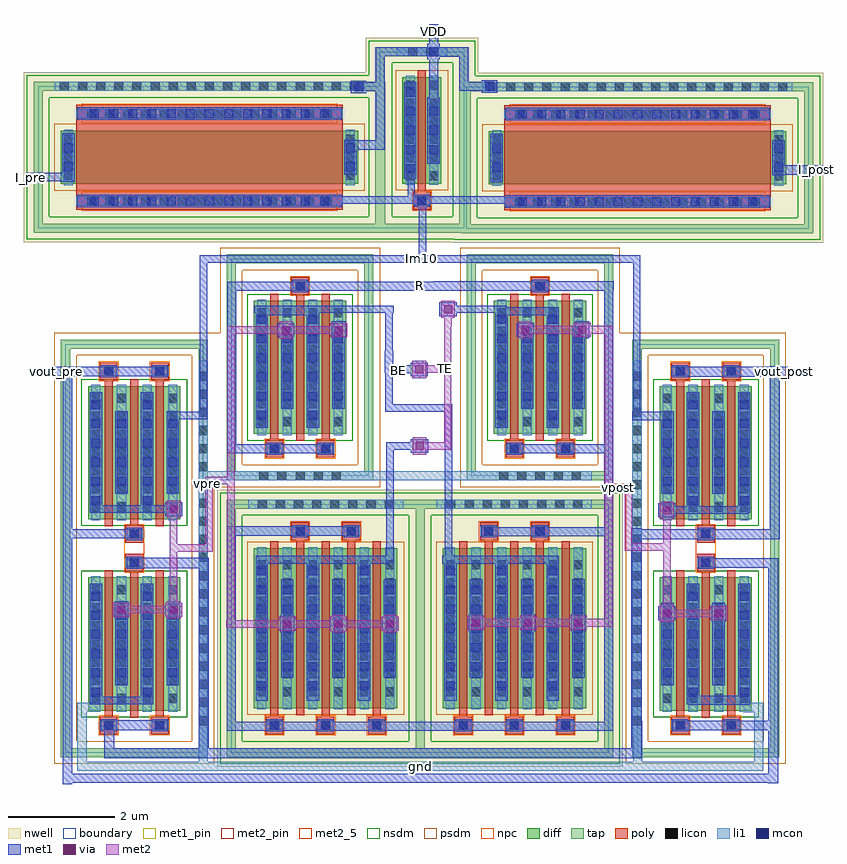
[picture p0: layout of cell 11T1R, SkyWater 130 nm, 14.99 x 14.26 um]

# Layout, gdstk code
from math import pi, radians
import gdstk
lib = gdstk.Library(unit=1e-6, precision=1e-09)
def R(c, l, rs):  # rectangles x0, y0, x1, y1
    for r in rs: c.add(gdstk.rectangle(r[:2], r[2:], *l))
def A(c, l, x, y, w, h, nx, ny, dx, dy):  # array of equal rectangles
    R(c, l, [(x+i*dx, y+j*dy, x+i*dx+w, y+j*dy+h) for i in range(nx) for j in range(ny)])
nwell = (64, 20)
diff = (65, 20)
tap = (65, 44)
poly = (66, 20)
licon = (66, 44)
li1 = (67, 20)
mcon = (67, 44)
met1_pin = (68, 16)
met1 = (68, 20)
via = (68, 44)
met2_5 = (69, 5)
met2_pin = (69, 16)
met2 = (69, 20)
nsdm = (93, 44)
psdm = (94, 20)
npc = (95, 20)
boundary = (235, 4)

sky130_fd_pr__pfet_01v8_ = lib.new_cell('sky130_fd_pr__pfet_01v8_86T979')
R(sky130_fd_pr__pfet_01v8_, nwell, [(-1.055,-1.92,1.055,1.92)])
R(sky130_fd_pr__pfet_01v8_, diff, [(-0.365,-0.82,0.365,1.18)])
R(sky130_fd_pr__pfet_01v8_, tap, [(-0.875,-1.74,0.875,-1.57), (-0.875,-1.57,-0.705,1.57), (0.705,-1.57,0.875,1.57), (-0.875,1.57,0.875,1.74)])
R(sky130_fd_pr__pfet_01v8_, poly, [(-0.165,-1.305,0.165,-0.975), (-0.075,-0.975,0.075,1.31)])
A(sky130_fd_pr__pfet_01v8_, licon, -0.305, -0.755, 0.17, 0.17, 1, 6, 0, 0.34)
A(sky130_fd_pr__pfet_01v8_, licon, 0.135, -0.755, 0.17, 0.17, 1, 6, 0, 0.34)
R(sky130_fd_pr__pfet_01v8_, licon, [(-0.085,-1.225,0.085,-1.055), (-0.255,1.57,-0.085,1.74), (0.085,1.57,0.255,1.74)])
R(sky130_fd_pr__pfet_01v8_, li1, [(-0.165,-1.225,0.165,-1.055), (-0.305,-0.84,-0.135,1.2), (0.135,-0.84,0.305,1.2), (-0.475,1.57,0.475,1.74)])
A(sky130_fd_pr__pfet_01v8_, mcon, -0.305, -0.625, 0.17, 0.17, 1, 5, 0, 0.36)
A(sky130_fd_pr__pfet_01v8_, mcon, 0.135, -0.265, 0.17, 0.17, 1, 3, 0, 0.36)
R(sky130_fd_pr__pfet_01v8_, mcon, [(-0.085,-1.225,0.085,-1.055)])
R(sky130_fd_pr__pfet_01v8_, met1, [(-0.145,-1.255,0.145,-1.025), (-0.335,-0.725,-0.105,1.085), (0.105,-0.445,0.335,0.805)])
R(sky130_fd_pr__pfet_01v8_, nsdm, [(-1,-1.865,1,-1.445), (-1,-1.445,-0.58,1.445), (0.58,-1.445,1,1.445), (-1,1.445,1,1.865)])
R(sky130_fd_pr__pfet_01v8_, psdm, [(-0.49,-0.945,0.49,1.305)])
R(sky130_fd_pr__pfet_01v8_, npc, [(-0.185,-1.325,0.185,-0.955)])
R(sky130_fd_pr__pfet_01v8_, boundary, [(-0.79,-1.655,0.79,1.655)])

rram2_0 = lib.new_cell('rram2_0')
R(rram2_0, met1_pin, [(-0.16,-0.13,0.16,0.13)])
R(rram2_0, met1, [(-0.16,-0.13,0.16,0.13)])
R(rram2_0, via, [(-0.075,-0.075,0.075,0.075)])
R(rram2_0, met2_pin, [(-0.13,-0.16,0.13,0.16)])
R(rram2_0, met2, [(-0.13,-0.16,0.13,0.16)])
rram2_0.add(gdstk.Label('TE', (0,0), layer=69, texttype=5))
rram2_0.add(gdstk.Label('BE', (0,0), layer=68, texttype=5))

sky130_fd_pr__nfet_01v8_ = lib.new_cell('sky130_fd_pr__nfet_01v8_AKC4V5')
R(sky130_fd_pr__nfet_01v8_, diff, [(-0.865,-3.045,0.865,-0.545), (-0.865,0.545,0.865,3.045)])
R(sky130_fd_pr__nfet_01v8_, tap, [(-1.375,-3.915,1.375,-3.745), (-1.375,-3.745,-1.205,3.745), (1.205,-3.745,1.375,3.745), (-1.375,3.745,1.375,3.915)])
R(sky130_fd_pr__nfet_01v8_, poly, [(-0.645,-3.485,-0.315,-3.155), (0.315,-3.485,0.645,-3.155), (-0.075,-3.175,0.075,-0.435), (-0.555,-3.155,-0.405,-0.415), (0.405,-3.155,0.555,-0.415), (-0.165,-0.435,0.165,-0.105), (-0.165,0.105,0.165,0.435), (-0.555,0.415,-0.405,3.155), (0.405,0.415,0.555,3.155), (-0.075,0.435,0.075,3.175), (-0.645,3.155,-0.315,3.485), (0.315,3.155,0.645,3.485)])
A(sky130_fd_pr__nfet_01v8_, licon, 1.205, -3.315, 0.17, 0.17, 1, 20, 0, 0.34)
A(sky130_fd_pr__nfet_01v8_, licon, -0.805, -2.9, 0.17, 0.17, 4, 7, 0.48, 0.34)
A(sky130_fd_pr__nfet_01v8_, licon, -0.805, 0.69, 0.17, 0.17, 4, 7, 0.48, 0.34)
R(sky130_fd_pr__nfet_01v8_, licon, [(-0.565,-3.405,-0.395,-3.235), (0.395,-3.405,0.565,-3.235), (-0.085,-0.355,0.085,-0.185), (-0.085,0.185,0.085,0.355), (-0.565,3.235,-0.395,3.405), (0.395,3.235,0.565,3.405)])
A(sky130_fd_pr__nfet_01v8_, li1, -0.805, -3.065, 0.17, 2.54, 4, 2, 0.48, 3.59)
R(sky130_fd_pr__nfet_01v8_, li1, [(1.205,-3.515,1.375,3.515), (-0.645,-3.405,-0.315,-3.235), (0.315,-3.405,0.645,-3.235), (-0.165,-0.355,0.165,-0.185), (-0.165,0.185,0.165,0.355), (-0.645,3.235,-0.315,3.405), (0.315,3.235,0.645,3.405)])
A(sky130_fd_pr__nfet_01v8_, mcon, -0.805, -2.42, 0.17, 0.17, 4, 4, 0.48, 0.36)
A(sky130_fd_pr__nfet_01v8_, mcon, -0.805, 1.17, 0.17, 0.17, 4, 4, 0.48, 0.36)
R(sky130_fd_pr__nfet_01v8_, mcon, [(-0.565,-3.405,-0.395,-3.235), (0.395,-3.405,0.565,-3.235), (-0.805,-2.78,-0.635,-2.61), (0.155,-2.78,0.325,-2.61), (-0.805,-0.98,-0.635,-0.81), (0.155,-0.98,0.325,-0.81), (-0.085,-0.355,0.085,-0.185), (-0.085,0.185,0.085,0.355), (-0.805,0.81,-0.635,0.98), (0.155,0.81,0.325,0.98), (-0.805,2.61,-0.635,2.78), (0.155,2.61,0.325,2.78), (-0.565,3.235,-0.395,3.405), (0.395,3.235,0.565,3.405)])
R(sky130_fd_pr__nfet_01v8_, met1, [(-0.625,-3.435,-0.335,-3.205), (0.335,-3.435,0.625,-3.205), (-0.835,-2.925,-0.605,-0.665), (0.125,-2.925,0.355,-0.665), (-0.355,-2.57,-0.125,-1.02), (0.605,-2.57,0.835,-1.02), (-0.145,-0.385,0.145,-0.155), (-0.145,0.155,0.145,0.385), (-0.835,0.665,-0.605,2.925), (0.125,0.665,0.355,2.925), (-0.355,1.02,-0.125,2.57), (0.605,1.02,0.835,2.57), (-0.625,3.205,-0.335,3.435), (0.335,3.205,0.625,3.435)])
R(sky130_fd_pr__nfet_01v8_, nsdm, [(-0.99,-3.17,0.99,-0.42), (-0.99,0.42,0.99,3.17)])
R(sky130_fd_pr__nfet_01v8_, psdm, [(-1.5,-4.04,1.5,-3.62), (-1.5,-3.62,-1.08,3.62), (1.08,-3.62,1.5,3.62), (-1.5,3.62,1.5,4.04)])
R(sky130_fd_pr__nfet_01v8_, npc, [(-0.665,-3.505,-0.295,-3.135), (0.295,-3.505,0.665,-3.135), (-0.185,-0.455,0.185,0.455), (-0.665,3.135,-0.295,3.505), (0.295,3.135,0.665,3.505)])
R(sky130_fd_pr__nfet_01v8_, boundary, [(-1.29,-3.83,1.29,3.83)])

c_sky130_fd_pr__nfet_01v8_ = lib.new_cell('sky130_fd_pr__nfet_01v8_JZLRWN')
R(c_sky130_fd_pr__nfet_01v8_, diff, [(-0.865,-1.25,0.865,1.25)])
R(c_sky130_fd_pr__nfet_01v8_, tap, [(-1.375,-2.12,1.375,-1.95), (-1.375,-1.95,-1.205,1.95), (1.205,-1.95,1.375,1.95), (-1.375,1.95,1.375,2.12)])
R(c_sky130_fd_pr__nfet_01v8_, poly, [(-0.645,-1.69,-0.315,-1.36), (0.315,-1.69,0.645,-1.36), (-0.075,-1.38,0.075,1.36), (-0.555,-1.36,-0.405,1.38), (0.405,-1.36,0.555,1.38), (-0.165,1.36,0.165,1.69)])
A(c_sky130_fd_pr__nfet_01v8_, licon, -0.765, -2.12, 0.17, 0.17, 5, 1, 0.34, 0)
A(c_sky130_fd_pr__nfet_01v8_, licon, -0.805, -1.105, 0.17, 0.17, 4, 7, 0.48, 0.34)
R(c_sky130_fd_pr__nfet_01v8_, licon, [(-0.565,-1.61,-0.395,-1.44), (0.395,-1.61,0.565,-1.44), (-0.085,1.44,0.085,1.61)])
A(c_sky130_fd_pr__nfet_01v8_, li1, -0.805, -1.27, 0.17, 2.54, 4, 1, 0.48, 0)
R(c_sky130_fd_pr__nfet_01v8_, li1, [(-0.975,-2.12,0.975,-1.95), (-0.645,-1.61,-0.315,-1.44), (0.315,-1.61,0.645,-1.44), (-0.165,1.44,0.165,1.61)])
A(c_sky130_fd_pr__nfet_01v8_, mcon, -0.805, -0.625, 0.17, 0.17, 4, 4, 0.48, 0.36)
R(c_sky130_fd_pr__nfet_01v8_, mcon, [(-0.565,-1.61,-0.395,-1.44), (0.395,-1.61,0.565,-1.44), (-0.805,-0.985,-0.635,-0.815), (0.155,-0.985,0.325,-0.815), (-0.805,0.815,-0.635,0.985), (0.155,0.815,0.325,0.985), (-0.085,1.44,0.085,1.61)])
R(c_sky130_fd_pr__nfet_01v8_, met1, [(-0.625,-1.64,-0.335,-1.41), (0.335,-1.64,0.625,-1.41), (-0.835,-1.13,-0.605,1.13), (0.125,-1.13,0.355,1.13), (-0.355,-0.775,-0.125,0.775), (0.605,-0.775,0.835,0.775), (-0.145,1.41,0.145,1.64)])
R(c_sky130_fd_pr__nfet_01v8_, nsdm, [(-0.99,-1.375,0.99,1.375)])
R(c_sky130_fd_pr__nfet_01v8_, psdm, [(-1.5,-2.245,1.5,-1.825), (-1.5,-1.825,-1.08,1.825), (1.08,-1.825,1.5,1.825), (-1.5,1.825,1.5,2.245)])
R(c_sky130_fd_pr__nfet_01v8_, npc, [(-0.665,-1.71,-0.295,-1.34), (0.295,-1.71,0.665,-1.34), (-0.185,1.34,0.185,1.71)])
R(c_sky130_fd_pr__nfet_01v8_, boundary, [(-1.29,-2.035,1.29,2.035)])

c_sky130_fd_pr__pfet_01v8_ = lib.new_cell('sky130_fd_pr__pfet_01v8_R4E532')
R(c_sky130_fd_pr__pfet_01v8_, nwell, [(-2.035,-2.595,2.035,2.595)])
R(c_sky130_fd_pr__pfet_01v8_, diff, [(-1.345,-1.5,1.345,1.5)])
R(c_sky130_fd_pr__pfet_01v8_, tap, [(-1.855,-2.415,1.855,-2.245), (-1.855,-2.245,-1.685,2.245), (1.685,-2.245,1.855,2.245), (-1.855,2.245,1.855,2.415)])
A(c_sky130_fd_pr__pfet_01v8_, poly, -1.125, -1.985, 0.33, 0.33, 3, 1, 0.96, 0)
A(c_sky130_fd_pr__pfet_01v8_, poly, -1.035, -1.655, 0.15, 3.285, 3, 1, 0.96, 0)
R(c_sky130_fd_pr__pfet_01v8_, poly, [(-0.555,-1.63,-0.405,1.655), (0.405,-1.63,0.555,1.655), (-0.645,1.655,-0.315,1.985), (0.315,1.655,0.645,1.985)])
A(c_sky130_fd_pr__pfet_01v8_, licon, -1.045, -1.905, 0.17, 0.17, 3, 1, 0.96, 0)
A(c_sky130_fd_pr__pfet_01v8_, licon, -1.285, -1.275, 0.17, 0.17, 6, 8, 0.48, 0.34)
A(c_sky130_fd_pr__pfet_01v8_, licon, -1.275, 2.245, 0.17, 0.17, 8, 1, 0.34, 0)
R(c_sky130_fd_pr__pfet_01v8_, licon, [(-0.565,1.735,-0.395,1.905), (0.395,1.735,0.565,1.905)])
A(c_sky130_fd_pr__pfet_01v8_, li1, -1.125, -1.905, 0.33, 0.17, 3, 1, 0.96, 0)
A(c_sky130_fd_pr__pfet_01v8_, li1, -1.285, -1.52, 0.17, 3.04, 6, 1, 0.48, 0)
R(c_sky130_fd_pr__pfet_01v8_, li1, [(-0.645,1.735,-0.315,1.905), (0.315,1.735,0.645,1.905), (-1.455,2.245,1.455,2.415)])
A(c_sky130_fd_pr__pfet_01v8_, mcon, -1.045, -1.905, 0.17, 0.17, 3, 1, 0.96, 0)
A(c_sky130_fd_pr__pfet_01v8_, mcon, -1.285, -1.165, 0.17, 0.17, 3, 2, 0.96, 2.16)
A(c_sky130_fd_pr__pfet_01v8_, mcon, -1.285, -0.805, 0.17, 0.17, 6, 5, 0.48, 0.36)
R(c_sky130_fd_pr__pfet_01v8_, mcon, [(-0.565,1.735,-0.395,1.905), (0.395,1.735,0.565,1.905)])
A(c_sky130_fd_pr__pfet_01v8_, met1, -1.105, -1.935, 0.29, 0.23, 3, 1, 0.96, 0)
A(c_sky130_fd_pr__pfet_01v8_, met1, -1.315, -1.355, 0.23, 2.71, 3, 1, 0.96, 0)
A(c_sky130_fd_pr__pfet_01v8_, met1, -0.835, -0.925, 0.23, 1.85, 3, 1, 0.96, 0)
R(c_sky130_fd_pr__pfet_01v8_, met1, [(-0.625,1.705,-0.335,1.935), (0.335,1.705,0.625,1.935)])
R(c_sky130_fd_pr__pfet_01v8_, nsdm, [(-1.98,-2.54,1.98,-2.12), (-1.98,-2.12,-1.56,2.12), (1.56,-2.12,1.98,2.12), (-1.98,2.12,1.98,2.54)])
R(c_sky130_fd_pr__pfet_01v8_, psdm, [(-1.47,-1.625,1.47,1.625)])
A(c_sky130_fd_pr__pfet_01v8_, npc, -1.145, -2.005, 0.37, 0.37, 3, 1, 0.96, 0)
R(c_sky130_fd_pr__pfet_01v8_, npc, [(-0.665,1.635,-0.295,2.005), (0.295,1.635,0.665,2.005)])
R(c_sky130_fd_pr__pfet_01v8_, boundary, [(-1.77,-2.33,1.77,2.33)])

c_sky130_fd_pr__pfet_01v8__ = lib.new_cell('sky130_fd_pr__pfet_01v8_RWS95J')
R(c_sky130_fd_pr__pfet_01v8__, nwell, [(-3.48,-1.595,3.48,1.595)])
R(c_sky130_fd_pr__pfet_01v8__, diff, [(-2.79,-0.5,2.79,0.5)])
R(c_sky130_fd_pr__pfet_01v8__, tap, [(-3.3,-1.415,3.3,-1.245), (-3.3,-1.245,-3.13,1.245), (3.13,-1.245,3.3,1.245), (-3.3,1.245,3.3,1.415)])
R(c_sky130_fd_pr__pfet_01v8__, poly, [(-2.5,-0.985,2.5,0.985)])
A(c_sky130_fd_pr__pfet_01v8__, licon, -2.295, -0.905, 0.17, 0.17, 14, 2, 0.34, 1.64)
A(c_sky130_fd_pr__pfet_01v8__, licon, -2.73, -0.425, 0.17, 0.17, 1, 3, 0, 0.34)
A(c_sky130_fd_pr__pfet_01v8__, licon, 2.56, -0.425, 0.17, 0.17, 1, 3, 0, 0.34)
A(c_sky130_fd_pr__pfet_01v8__, licon, -2.805, 1.245, 0.17, 0.17, 17, 1, 0.34, 0)
R(c_sky130_fd_pr__pfet_01v8__, li1, [(-2.5,-0.905,2.5,-0.735), (-2.73,-0.52,-2.56,0.52), (2.56,-0.52,2.73,0.52), (-2.5,0.735,2.5,0.905), (-2.9,1.245,2.9,1.415)])
A(c_sky130_fd_pr__pfet_01v8__, mcon, -2.245, -0.905, 0.17, 0.17, 13, 2, 0.36, 1.64)
R(c_sky130_fd_pr__pfet_01v8__, mcon, [(-2.73,-0.265,-2.56,-0.095), (2.56,-0.265,2.73,-0.095), (-2.73,0.095,-2.56,0.265), (2.56,0.095,2.73,0.265)])
R(c_sky130_fd_pr__pfet_01v8__, met1, [(-2.48,-0.935,2.48,-0.705), (-2.76,-0.455,-2.53,0.455), (2.53,-0.325,2.76,0.325), (-2.48,0.705,2.48,0.935)])
R(c_sky130_fd_pr__pfet_01v8__, nsdm, [(-3.425,-1.54,3.425,-1.12), (-3.425,-1.12,-3.005,1.12), (3.005,-1.12,3.425,1.12), (-3.425,1.12,3.425,1.54)])
R(c_sky130_fd_pr__pfet_01v8__, psdm, [(-2.915,-0.625,2.915,0.625)])
R(c_sky130_fd_pr__pfet_01v8__, npc, [(-2.395,-1.005,2.395,-0.635), (-2.395,0.635,2.395,1.005)])
R(c_sky130_fd_pr__pfet_01v8__, boundary, [(-3.215,-1.33,3.215,1.33)])

c_11t1r = lib.new_cell('11T1R')
R(c_11t1r, li1, [(-6.7,-7.365,6.16,-7.195), (-6.7,-7.195,-6.53,-6.26), (-4.43,-7.195,-4.26,-1.92), (3.72,-7.195,3.89,-6.425), (5.99,-7.195,6.16,-6.265), (5.79,-6.265,6.16,-6.095), (-6.7,-6.26,-6.275,-6.125), (-6.7,-6.125,-6.27,-6.09), (-6.44,-6.09,-6.27,-5.955), (-4.43,-1.92,1.355,-1.75), (-1.51,5.375,-1.34,5.545), (0.945,5.385,1.115,5.555), (-0.105,6.035,0.065,6.205)])
R(c_11t1r, mcon, [(-1.51,5.375,-1.34,5.545), (0.945,5.385,1.115,5.555), (-0.105,6.035,0.065,6.205)])
R(c_11t1r, met1_pin, [(-7.19,0.035,-7.015,0.21)])
R(c_11t1r, met1, [(-6.975,-7.615,-6.8,-7.595), (6.255,-7.6,6.44,-7.595), (-6.975,-7.595,6.445,-7.42), (-6.975,-7.42,-6.8,-3.01), (6.255,-7.42,6.44,-6.61), (-6.2,-7.135,3.88,-6.945), (-6.2,-6.945,-6.01,-6.61), (-4.425,-6.945,-4.235,-3.565), (3.69,-6.945,3.88,-3.025), (-3.905,-6.615,3.35,-6.445), (-6.2,-6.61,-5.04,-6.42), (4.515,-6.61,6.44,-6.425), (-3.905,-6.445,-3.735,-2.955), (3.18,-6.445,3.35,-2.965), (6.255,-6.425,6.44,-3.56), (4.765,-6.125,5.905,-5.96), (-6.455,-6.12,-5.305,-5.98), (-2.895,-4.77,-2.635,-4.45), (-1.935,-4.77,-1.675,-4.74), (-0.96,-4.77,-0.7,-4.74), (0.64,-4.75,0.9,-4.43), (1.625,-4.75,1.885,-4.43), (2.565,-4.75,2.825,-4.43), (-1.965,-4.74,-1.645,-4.48), (-0.99,-4.74,-0.67,-4.48), (5.2,-4.575,5.46,-4.255), (4.195,-4.545,4.515,-4.285), (-6.005,-4.505,-5.745,-4.185), (-5.025,-4.505,-4.765,-4.475), (-1.935,-4.48,-1.675,-4.45), (-0.96,-4.48,-0.7,-4.45), (-5.055,-4.475,-4.735,-4.215), (-5.025,-4.215,-4.765,-4.185), (-5.735,-3.565,-4.235,-3.375), (4.975,-3.56,6.44,-3.38), (-3.355,-3.48,-0.85,-3.46), (0.14,-3.48,2.33,-3.33), (-3.355,-3.46,-0.77,-3.33), (-0.91,-3.33,-0.77,-1.345), (0.19,-3.33,0.33,-0.63), (3.69,-3.025,6.475,-2.835), (-6.975,-3.01,-5.53,-2.835), (0.925,-2.965,3.35,-2.795), (-3.905,-2.955,-1.475,-2.785), (-6.975,-2.835,-6.8,0.035), (3.69,-2.835,3.88,-2.815), (6.285,-2.835,6.475,0.025), (3.18,-2.795,3.35,-1.41), (4.195,-2.61,4.515,-2.55), (-5.055,-2.59,-4.735,-2.53), (4.195,-2.55,5.88,-2.41), (-6.47,-2.53,-4.735,-2.39), (4.195,-2.41,4.515,-2.35), (-5.055,-2.39,-4.735,-2.33), (-3.895,-1.415,-1.955,-1.245), (1.41,-1.41,3.35,-1.24), (-0.445,-1.405,-0.125,-1.345), (-0.91,-1.345,-0.125,-1.205), (-3.895,-1.245,-3.725,0.79), (3.18,-1.24,3.35,1.64), (-0.445,-1.205,-0.125,-1.145), (3.71,-0.79,4.485,-0.63), (-5,-0.77,-4.265,-0.63), (-4.41,-0.63,-4.27,2.16), (-0.93,-0.63,0.33,-0.49), (3.72,-0.63,3.86,2.16), (-0.93,-0.49,-0.79,0.085), (4.44,0.025,6.635,0.215), (-7.19,0.035,-5.07,0.21), (-0.935,0.085,-0.195,0.24), (6.285,0.215,6.475,0.225), (-0.935,0.24,-0.78,0.5), (-0.93,0.5,-0.79,1.22), (-1.93,0.74,-1.67,1.06), (2.64,0.745,2.9,1.065), (-2.95,0.77,-2.63,1.03), (1.535,0.775,1.855,1.035), (-3.89,0.79,-3.725,1.03), (-3.895,1.03,-3.725,1.64), (0.09,1.16,0.41,1.22), (-3.36,1.18,-2.2,1.21), (1.15,1.18,2.33,1.22), (-3.36,1.21,-2.19,1.22), (-3.38,1.22,-0.77,1.36), (0.09,1.22,2.33,1.33), (0.09,1.33,1.35,1.36), (0.09,1.36,0.41,1.42), (-3.895,1.64,3.355,1.81), (-0.025,1.81,3.355,1.815), (-4.41,2.16,3.86,2.3), (-0.3,2.3,-0.16,3.265), (-1.975,3.265,1.845,3.405), (-0.51,3.405,-0.37,3.955), (-0.3,3.405,-0.16,3.425), (-7.675,3.69,-6.77,3.85), (6.335,3.81,7.28,3.99), (-1.69,4.285,-0.94,4.455), (-1.11,4.455,-0.94,5.375), (-0.105,5.245,0.065,5.975), (-1.57,5.345,-1.28,5.375), (0.885,5.355,1.175,5.385), (-1.57,5.375,-0.94,5.545), (0.46,5.385,1.175,5.555), (-1.57,5.545,-1.28,5.575), (-1.11,5.545,-0.94,6.035), (0.46,5.555,0.63,6.03), (0.885,5.555,1.175,5.585), (-0.135,5.975,0.095,6.03), (-0.135,6.03,0.63,6.035), (-1.11,6.035,0.63,6.2), (-1.11,6.2,0.095,6.205), (-0.135,6.205,0.095,6.265), (-0.105,6.265,0.065,6.64)])
R(c_11t1r, via, [(-2.84,-4.685,-2.69,-4.535), (-1.88,-4.685,-1.73,-4.535), (-0.905,-4.685,-0.755,-4.535), (0.695,-4.665,0.845,-4.515), (1.68,-4.665,1.83,-4.515), (2.62,-4.665,2.77,-4.515), (4.28,-4.49,4.43,-4.34), (5.255,-4.49,5.405,-4.34), (-5.95,-4.42,-5.8,-4.27), (-4.97,-4.42,-4.82,-4.27), (4.28,-2.555,4.43,-2.405), (-4.97,-2.535,-4.82,-2.385), (-0.36,-1.35,-0.21,-1.2), (-2.865,0.825,-2.715,0.975), (-1.875,0.825,-1.725,0.975), (1.62,0.83,1.77,0.98), (2.695,0.83,2.845,0.98), (0.175,1.215,0.325,1.365)])
R(c_11t1r, met2_5, [(3.185,-2.135,3.725,-1.985), (-4.33,-2.055,-4.19,-1.915)])
R(c_11t1r, met2, [(-1.935,-4.77,-1.675,-4.74), (-0.96,-4.77,-0.7,-4.74), (-2.925,-4.74,-2.605,-4.68), (-1.965,-4.74,-1.645,-4.68), (-0.99,-4.74,-0.67,-4.68), (0.61,-4.72,0.93,-4.665), (1.595,-4.72,1.915,-4.665), (2.535,-4.72,2.855,-4.665), (-3.91,-4.68,-0.67,-4.54), (0.61,-4.665,3.335,-4.515), (4.225,-4.575,4.485,-4.485), (5.17,-4.545,5.49,-4.485), (-3.89,-4.54,-3.75,-1.99), (-2.925,-4.54,-2.605,-4.48), (-1.965,-4.54,-1.645,-4.48), (-0.99,-4.54,-0.67,-4.48), (0.61,-4.515,0.93,-4.46), (1.595,-4.515,1.915,-4.46), (2.535,-4.515,2.855,-4.46), (3.185,-4.515,3.335,-2.135), (-5.025,-4.505,-4.765,-4.475), (4.225,-4.485,5.49,-4.345), (-1.935,-4.48,-1.675,-4.45), (-0.96,-4.48,-0.7,-4.45), (-6.035,-4.475,-5.715,-4.415), (-5.055,-4.475,-4.735,-4.415), (-6.035,-4.415,-4.735,-4.275), (4.225,-4.345,4.485,-4.255), (5.17,-4.345,5.49,-4.285), (-6.035,-4.275,-5.715,-4.215), (-5.055,-4.275,-4.735,-4.215), (4.285,-4.255,4.425,-3.24), (-5.025,-4.215,-4.765,-4.185), (-4.965,-4.185,-4.825,-3.26), (-4.965,-3.26,-4.16,-3.12), (3.565,-3.24,4.425,-3.1), (-4.965,-3.12,-4.825,-2.62), (-4.3,-3.12,-4.16,-1.99), (3.565,-3.1,3.705,-2.135), (4.285,-3.1,4.425,-2.64), (4.225,-2.64,4.485,-2.32), (-5.025,-2.62,-4.765,-2.3), (3.185,-2.135,3.705,-2.13), (3.18,-2.13,3.705,-1.99), (-4.3,-1.99,-3.75,-1.85), (3.185,-1.99,3.335,0.83), (-3.89,-1.85,-3.75,0.83), (-0.415,-1.435,-0.155,-1.345), (-0.415,-1.345,0.315,-1.205), (-0.415,-1.205,-0.155,-1.115), (0.175,-1.205,0.315,0.1), (-0.355,0.1,0.315,0.24), (0.175,0.24,0.315,0.975), (-2.92,0.74,-2.66,0.83), (1.565,0.745,1.825,0.83), (-1.96,0.77,-1.64,0.83), (2.61,0.775,2.93,0.83), (-3.89,0.83,-1.64,0.97), (1.565,0.83,3.335,0.98), (-2.92,0.97,-2.66,1.06), (-1.96,0.97,-1.64,1.03), (0.175,0.975,0.32,1.13), (1.565,0.98,1.825,1.065), (2.61,0.98,2.93,1.035), (0.12,1.13,0.38,1.45)])
R(c_11t1r, nsdm, [(-0.82,5.68,-0.8,5.91)])
R(c_11t1r, psdm, [(-4.135,-2.045,-4.025,0.845), (3.475,-2.045,3.585,0.845)])
c_11t1r.add(gdstk.Reference(sky130_fd_pr__pfet_01v8_, (-0.24,4.465)))
c_11t1r.add(gdstk.Reference(rram2_0, (-0.29,0.16)))
c_11t1r.add(gdstk.Reference(sky130_fd_pr__nfet_01v8_, (-5.635,-3.195)))
c_11t1r.add(gdstk.Reference(c_sky130_fd_pr__nfet_01v8_, (-2.525,0.2)))
c_11t1r.add(gdstk.Reference(c_sky130_fd_pr__pfet_01v8_, (1.495,-4.695)))
c_11t1r.add(gdstk.Reference(c_sky130_fd_pr__pfet_01v8_, (-2.045,-4.695)))
c_11t1r.add(gdstk.Reference(c_sky130_fd_pr__pfet_01v8__, (3.805,4.13)))
c_11t1r.add(gdstk.Reference(sky130_fd_pr__nfet_01v8_, (5.085,-3.195), rotation=pi, x_reflection=True))
c_11t1r.add(gdstk.Reference(c_sky130_fd_pr__nfet_01v8_, (1.975,0.2)))
c_11t1r.add(gdstk.Reference(c_sky130_fd_pr__pfet_01v8__, (-4.225,4.14)))
c_11t1r.add(gdstk.Label('BE', (-0.685,0.145), layer=68, texttype=5))
c_11t1r.add(gdstk.Label('TE', (0.21,0.17), layer=69, texttype=5))
c_11t1r.add(gdstk.Label('vpre', (-4.26,-1.985), layer=69, texttype=5))
c_11t1r.add(gdstk.Label('vpost', (3.455,-2.06), layer=69, texttype=5))
c_11t1r.add(gdstk.Label('R', (-0.285,1.73), layer=68, texttype=5))
c_11t1r.add(gdstk.Label('Im10', (-0.255,2.235), layer=68, texttype=5))
c_11t1r.add(gdstk.Label('vout_post', (6.555,0.115), layer=68, texttype=5))
c_11t1r.add(gdstk.Label('vout_pre', (-7.102,0.122), layer=68, texttype=5))
c_11t1r.add(gdstk.Label('gnd', (-0.275,-7.28), layer=67, texttype=5))
c_11t1r.add(gdstk.Label('VDD', (-0.025,6.5), layer=68, texttype=5))
c_11t1r.add(gdstk.Label('I_pre', (-7.585,3.765), layer=68, texttype=5))
c_11t1r.add(gdstk.Label('I_post', (7.155,3.905), layer=68, texttype=5))

lib.write_gds('11T1R.gds')
